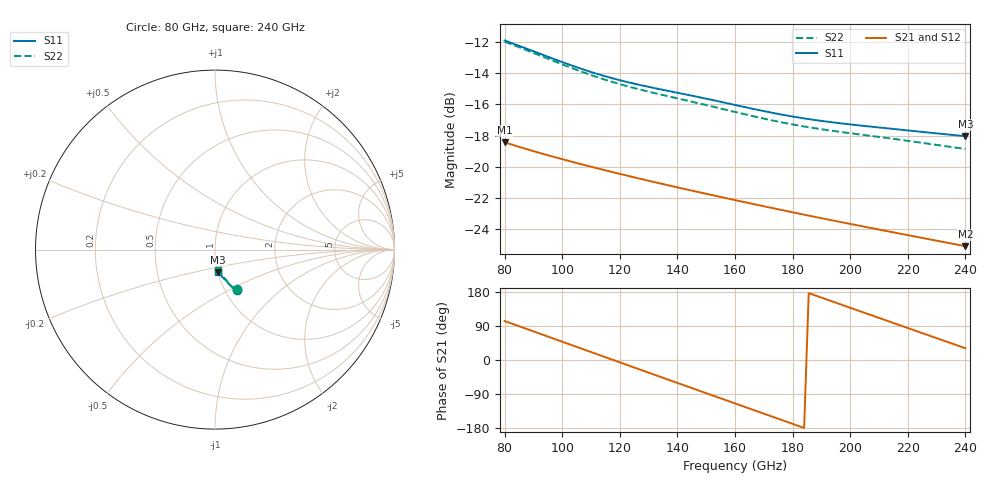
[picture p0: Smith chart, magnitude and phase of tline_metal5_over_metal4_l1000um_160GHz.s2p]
#  GHZ S DB R 50
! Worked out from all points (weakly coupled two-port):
!   101 points, 80 GHz to 240 GHz, reference 50 ohm
!   highest |S21| = -18.43 dB at 80 GHz (marker M1); lowest = -25.1 dB at 240 GHz (marker M2)
!   lowest |S11| = -18.0 dB at 240 GHz (marker M3), VSWR 1.29, Z = 50.1 - j12.7 ohm
!   |S11| at or under -10 dB: start of sweep to end of sweep
!   |S22| runs from -18.9 to -12.0 dB; largest |S21 - S12| = 1.4e-13
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80  -11.90 -61.8  -18.43 102.9  -18.43 102.9  -11.97 -61.6
86.4  -12.34 -63.6  -18.79 85.4  -18.79 85.4  -12.43 -63.5
92.8  -12.78 -65.3  -19.14 67.9  -19.14 67.9  -12.90 -65.2
100.8  -13.33 -67.0  -19.55 46.1  -19.55 46.1  -13.49 -66.9
107.2  -13.75 -68.0  -19.86 28.7  -19.86 28.7  -13.93 -68.0
113.6  -14.12 -68.8  -20.16 11.2  -20.16 11.2  -14.34 -68.7
120  -14.45 -69.5  -20.45 -6.2  -20.45 -6.2  -14.70 -69.4
126.4  -14.73 -70.2  -20.73 -23.6  -20.73 -23.6  -15.02 -70.0
134.4  -15.04 -71.3  -21.08 -45.3  -21.08 -45.3  -15.37 -70.9
140.8  -15.28 -72.2  -21.35 -62.6  -21.35 -62.6  -15.64 -71.7
147.2  -15.52 -73.2  -21.61 -80.0  -21.61 -80.0  -15.92 -72.6
153.6  -15.77 -74.2  -21.87 -97.3  -21.87 -97.3  -16.20 -73.4
160  -16.03 -75.1  -22.13 -114.6  -22.13 -114.6  -16.48 -74.2
168  -16.35 -76.0  -22.45 -136.2  -22.45 -136.2  -16.82 -74.9
174.4  -16.59 -76.5  -22.70 -153.4  -22.70 -153.4  -17.08 -75.3
180.8  -16.80 -77.0  -22.94 -170.6  -22.94 -170.6  -17.31 -75.6
187.2  -16.98 -77.4  -23.19 172.2  -23.19 172.2  -17.51 -76.0
193.6  -17.14 -77.8  -23.42 155.0  -23.42 155.0  -17.68 -76.3
201.6  -17.31 -78.4  -23.72 133.6  -23.72 133.6  -17.88 -77.0
214.4  -17.56 -79.6  -24.18 99.3  -24.18 99.3  -18.19 -78.2
225.6  -17.77 -80.8  -24.58 69.4  -24.58 69.4  -18.48 -79.3
240  -18.03 -82.1  -25.09 31.0  -25.09 31.0  -18.85 -80.6
